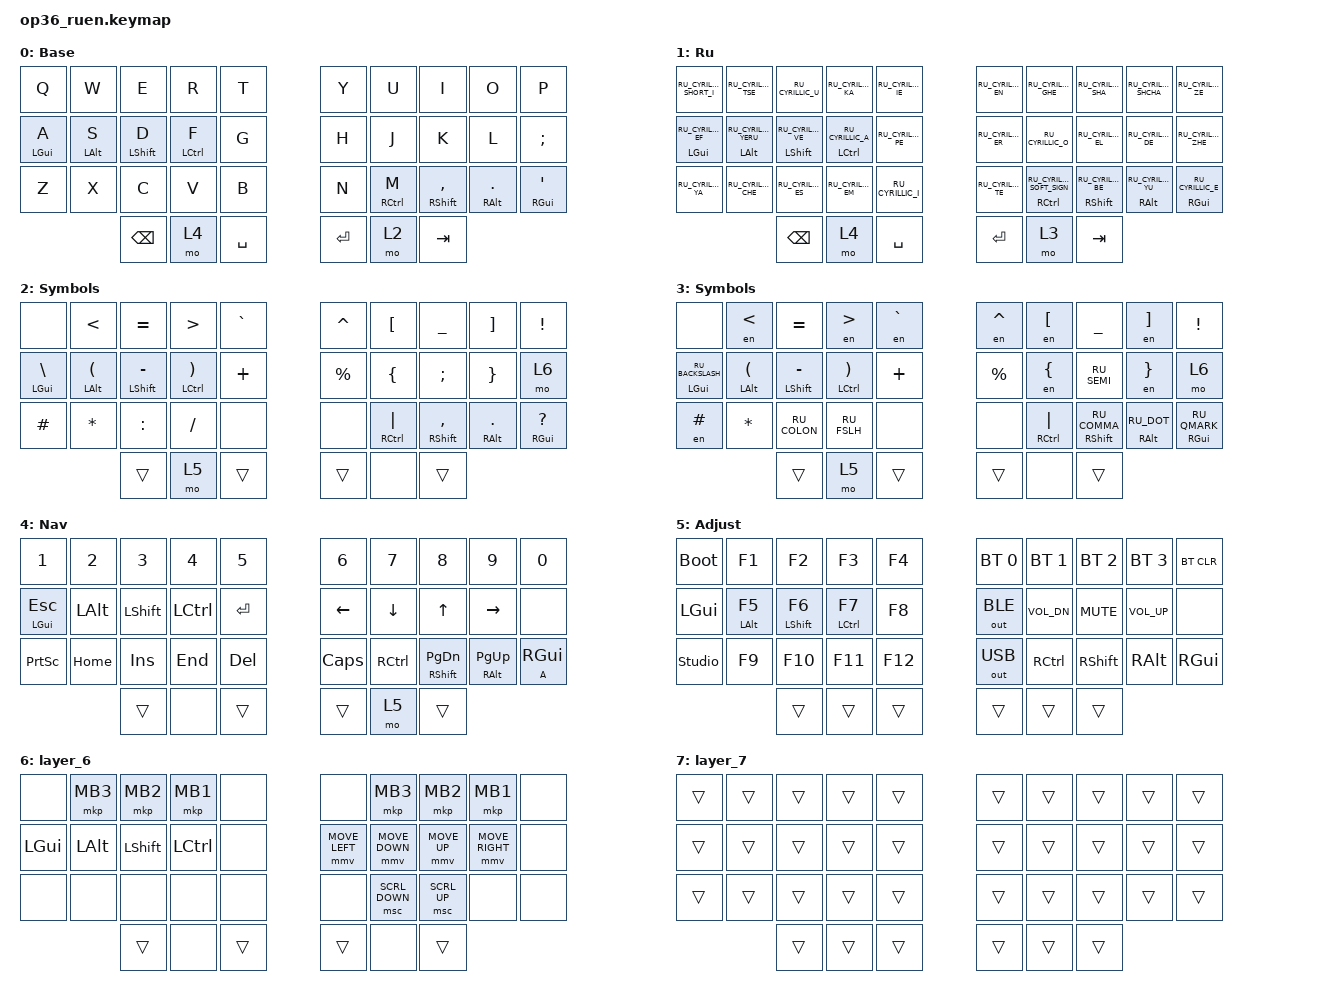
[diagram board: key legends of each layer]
#include "keys_ru.h"
#include "keys_ru.h"
#include <behaviors.dtsi>
#include <dt-bindings/zmk/bt.h>
#include <dt-bindings/zmk/keys.h>
#include <dt-bindings/zmk/outputs.h>
#include <dt-bindings/zmk/pointing.h>

&mt {
    quick-tap-ms = <200>;
    flavor = "tap-preferred";
    require-prior-idle-ms = <125>;
};

/ {
    behaviors {
        hml: home_row_mod_left {
            compatible = "zmk,behavior-hold-tap";
            #binding-cells = <2>;
            flavor = "balanced";
            require-prior-idle-ms = <150>;
            tapping-term-ms = <280>;
            quick-tap-ms = <175>;
            bindings = <&kp>, <&kp>;

            hold-trigger-key-positions = <5 6 7 8 9 15 16 17 18 19 25 26 27 28 29 33 34 35>;
            hold-trigger-on-release;
        };

        hmr: home_row_mod_right {
            compatible = "zmk,behavior-hold-tap";
            #binding-cells = <2>;
            flavor = "balanced";
            require-prior-idle-ms = <150>;
            tapping-term-ms = <280>;
            quick-tap-ms = <175>;
            bindings = <&kp>, <&kp>;

            hold-trigger-key-positions = <0 1 2 3 4 10 11 12 13 14 20 21 22 23 24 30 31 32>;
            hold-trigger-on-release;
        };
    };

    combos {
        compatible = "zmk,combos";

        kha {
            bindings = <&kp RU_CYRILLIC_HA>;
            key-positions = <6 7>;
            layers = <1>;
        };

        hrdsgn {
            bindings = <&kp RU_CYRILLIC_HARD_SIGN>;
            key-positions = <7 8>;
            layers = <1>;
        };

        cmben {
            bindings = <&layer_en>;
            key-positions = <2 3>;
            layers = <1>;
        };

        cmbru {
            bindings = <&layer_ru>;
            key-positions = <2 3>;
            layers = <0>;
        };
    };

    macros {
        to_ru: to_ru {
            compatible = "zmk,behavior-macro";
            #binding-cells = <0>;
            bindings = <&kp LS(LA(N2))>;
            label = "TO_RU";
            wait-ms = <0>;
            tap-ms = <30>;
        };

        to_en: to_en {
            compatible = "zmk,behavior-macro";
            #binding-cells = <0>;
            bindings = <&kp LS(LA(N1))>;
            label = "TO_EN";
            wait-ms = <0>;
            tap-ms = <30>;
        };

        layer_en: layer_en {
            compatible = "zmk,behavior-macro";
            #binding-cells = <0>;
            bindings = <&to 0 &to_en>;
            label = "LAYER_EN";
            wait-ms = <0>;
            tap-ms = <30>;
        };

        layer_ru: layer_ru {
            compatible = "zmk,behavior-macro";
            #binding-cells = <0>;
            bindings = <&to 1 &to_ru>;
            label = "LAYER_RU";
            tap-ms = <30>;
            wait-ms = <0>;
        };

        en: en {
            compatible = "zmk,behavior-macro-one-param";
            #binding-cells = <1>;
            bindings =
                <&to_en>,
                <&macro_press>,
                <&macro_param_1to1 &kp MACRO_PLACEHOLDER>,
                <&macro_pause_for_release>,
                <&macro_release>,
                <&macro_param_1to1 &kp MACRO_PLACEHOLDER>,
                <&macro_tap>,
                <&to_ru>;

            label = "EN";
            wait-ms = <0>;
            tap-ms = <30>;
        };
    };

    keymap {
        compatible = "zmk,keymap";

        en {
            bindings = <
  &kp Q        &kp W        &kp E         &kp R          &kp T                          &kp Y  &kp U         &kp I             &kp O          &kp P
  &hml LGUI A  &hml LALT S  &hml LSHFT D  &hml LCTRL F   &kp G                          &kp H  &kp J         &kp K             &kp L          &kp SEMICOLON
  &kp Z        &kp X        &kp C         &kp V          &kp B                          &kp N  &hmr RCTRL M  &hmr RSHFT COMMA  &hmr RALT DOT  &hmr RGUI SQT
                                          &kp BACKSPACE  &mo 4  &kp SPACE    &kp ENTER  &mo 2  &kp TAB
            >;

            display-name = "Base";
        };

        ru {
            bindings = <
  &kp RU_CYRILLIC_SHORT_I   &kp RU_CYRILLIC_TSE         &kp RU_CYRILLIC_U          &kp RU_CYRILLIC_KA        &kp RU_CYRILLIC_IE                          &kp RU_CYRILLIC_EN  &kp RU_CYRILLIC_GHE               &kp RU_CYRILLIC_SHA         &kp RU_CYRILLIC_SHCHA     &kp RU_CYRILLIC_ZE
  &hml LGUI RU_CYRILLIC_EF  &hml LALT RU_CYRILLIC_YERU  &hml LSHFT RU_CYRILLIC_VE  &hml LCTRL RU_CYRILLIC_A  &kp RU_CYRILLIC_PE                          &kp RU_CYRILLIC_ER  &kp RU_CYRILLIC_O                 &kp RU_CYRILLIC_EL          &kp RU_CYRILLIC_DE        &kp RU_CYRILLIC_ZHE
  &kp RU_CYRILLIC_YA        &kp RU_CYRILLIC_CHE         &kp RU_CYRILLIC_ES         &kp RU_CYRILLIC_EM        &kp RU_CYRILLIC_I                           &kp RU_CYRILLIC_TE  &hmr RCTRL RU_CYRILLIC_SOFT_SIGN  &hmr RSHIFT RU_CYRILLIC_BE  &hmr RALT RU_CYRILLIC_YU  &hmr RGUI RU_CYRILLIC_E
                                                                                   &kp BACKSPACE             &mo 4               &kp SPACE    &kp ENTER  &mo 3               &kp TAB
            >;

            display-name = "Ru";
        };

        sym_en {
            bindings = <
  &none           &kp LT          &kp EQUAL         &kp GT           &kp GRAVE                    &kp CARET  &kp LBKT         &kp UNDER         &kp RBKT       &kp EXCL
  &hml LGUI BSLH  &hml LALT LPAR  &hml LSHFT MINUS  &hml LCTRL RPAR  &kp PLUS                     &kp PRCNT  &kp LBRC         &kp SEMI          &kp RBRC       &mo 6
  &kp HASH        &kp STAR        &kp COLON         &kp FSLH         &none                        &none      &hmr RCTRL PIPE  &hmr RSHFT COMMA  &hmr RALT DOT  &hmr RGUI QMARK
                                                    &trans           &mo 5      &trans    &trans  &none      &trans
            >;

            display-name = "Symbols";
        };

        sym_ru {
            bindings = <
  &none                   &en LT          &kp EQUAL         &en GT           &en GRAVE                    &en CARET  &en LBKT         &kp UNDER             &en RBKT          &kp EXCL
  &hml LGUI RU_BACKSLASH  &hml LALT LPAR  &hml LSHFT MINUS  &hml LCTRL RPAR  &kp PLUS                     &kp PRCNT  &en LBRC         &kp RU_SEMI           &en RBRC          &mo 6
  &en HASH                &kp STAR        &kp RU_COLON      &kp RU_FSLH      &none                        &none      &hmr RCTRL PIPE  &hmr RSHIFT RU_COMMA  &hmr RALT RU_DOT  &hmr RGUI RU_QMARK
                                                            &trans           &mo 5      &trans    &trans  &none      &trans
            >;

            display-name = "Symbols";
        };

        nav {
            bindings = <
  &kp N1           &kp N2    &kp N3     &kp N4     &kp N5                        &kp N6    &kp N7     &kp N8            &kp N9           &kp N0
  &hml LGUI ESC    &kp LALT  &kp LSHFT  &kp LCTRL  &kp ENTER                     &kp LEFT  &kp DOWN   &kp UP            &kp RIGHT        &none
  &kp PRINTSCREEN  &kp HOME  &kp INS    &kp END    &kp DELETE                    &kp CAPS  &kp RCTRL  &hmr RSHFT PG_DN  &hmr RALT PG_UP  &hmr A RGUI
                                        &trans     &none       &trans    &trans  &mo 5     &trans
            >;

            display-name = "Nav";
        };

        adj {
            bindings = <
  &bootloader     &kp F1        &kp F2         &kp F3         &kp F4                     &bt BT_SEL 0  &bt BT_SEL 1  &bt BT_SEL 2  &bt BT_SEL 3  &bt BT_CLR
  &kp LGUI        &hml LALT F5  &hml LSHFT F6  &hml LCTRL F7  &kp F8                     &out OUT_BLE  &kp C_VOL_DN  &kp C_MUTE    &kp C_VOL_UP  &none
  &studio_unlock  &kp F9        &kp F10        &kp F11        &kp F12                    &out OUT_USB  &kp RCTRL     &kp RSHFT     &kp RALT      &kp RGUI
                                               &trans         &trans   &trans    &trans  &trans        &trans
            >;

            display-name = "Adjust";
        };

        layer_6 {
            bindings = <
  &none     &mkp MB3  &mkp MB2   &mkp MB1   &none                    &none           &mkp MB3        &mkp MB2      &mkp MB1         &none
  &kp LGUI  &kp LALT  &kp LSHFT  &kp LCTRL  &none                    &mmv MOVE_LEFT  &mmv MOVE_DOWN  &mmv MOVE_UP  &mmv MOVE_RIGHT  &none
  &none     &none     &none      &none      &none                    &none           &msc SCRL_DOWN  &msc SCRL_UP  &none            &none
                                 &trans     &none  &trans    &trans  &none           &trans
            >;
        };

        layer_7 {
            bindings = <
  &trans  &trans  &trans  &trans  &trans                    &trans  &trans  &trans  &trans  &trans
  &trans  &trans  &trans  &trans  &trans                    &trans  &trans  &trans  &trans  &trans
  &trans  &trans  &trans  &trans  &trans                    &trans  &trans  &trans  &trans  &trans
                          &trans  &trans  &trans    &trans  &trans  &trans
            >;
        };
    };
};
